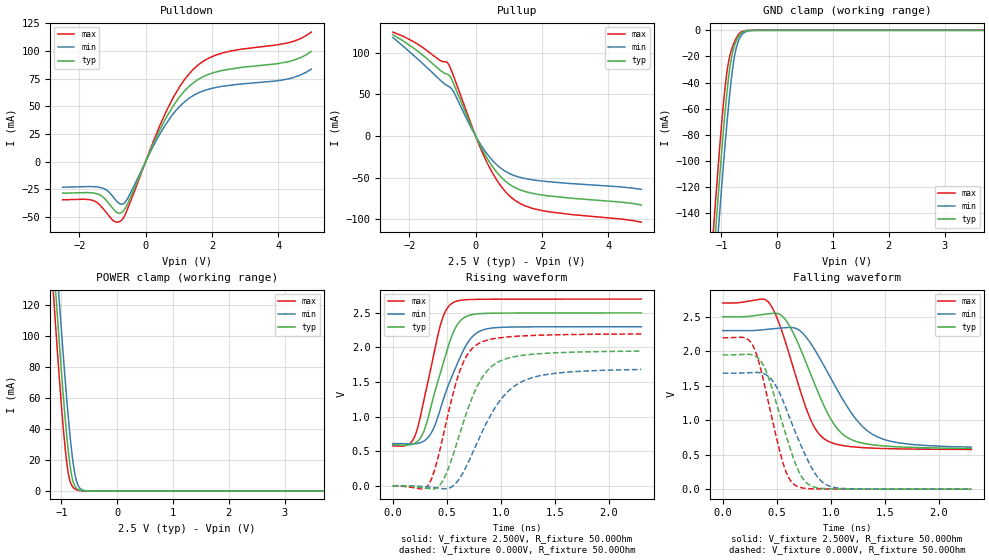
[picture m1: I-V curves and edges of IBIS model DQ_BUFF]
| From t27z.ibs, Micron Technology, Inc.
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|   MODEL DQ_BUFF
[Model]   DQ_BUFF
Model_type   I/O
Vinl = 0.940V
Vinh = 1.560V
Vmeas = 1.250V
Vref = 1.250V
Cref = 30.000pF
Rref = 50.000Ohm
|   typ   min   max
C_comp   3.36pF   3.21pF   3.52pF
[Model Spec]
| Input threshold voltage corners
Vinh   1.560V   1.460V   1.660V
Vinl   0.940V   0.840V   1.040V
| Measurement voltage corners
Vmeas   1.250V   1.150V   1.350V
| Timing spec test load voltage corners
Vref   1.250V   1.150V   1.350V
| Overshoot/Undershoot
S_overshoot_high   2.800V   2.600V   3.000V
S_overshoot_low   -0.300V   NA   NA
[Receiver Thresholds]
Vth   =  1.250V
Vth_min  =  1.225V
Vth_max  =  1.275V
Vinh_ac  =  0.310V
Vinh_dc  =  0.150V
Vinl_ac  = -0.310V
Vinl_dc  = -0.150V
Tslew_ac =  10.000ns |Not specified, so set to high value
[Voltage Range]   2.500V   2.300V   2.700V
| Junction Temperature (Ambient temp is 25C typ, 70C min, 0C max)
[Temperature Range]   40.0   85.0   0.0
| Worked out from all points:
|   slope of the pulldown table from 0 to 0.375 V, typ, clamps not added: 14.8 ohm
|   slope of the pullup table from 0 to 0.375 V, typ, clamps not added: 13.2 ohm
|   GND clamp passes 1 mA (typ) near -0.60 V on its own axis
|   POWER clamp passes 1 mA (typ) near -0.70 V on its own axis
|   falling waveform, V_fixture 2.500V, R_fixture 50.00Ohm: 20-80 % time 321ps typ, 395ps min, 265ps max; typ from 2.5 V to 0.592 V
|   rising waveform, V_fixture 2.500V, R_fixture 50.00Ohm: 20-80 % time 210ps typ, 247ps min, 177ps max; typ from 0.592 V to 2.5 V
|   rising waveform, V_fixture 0.000V, R_fixture 50.00Ohm: 20-80 % time 278ps typ, 357ps min, 221ps max; typ from 0 V to 1.95 V
|   falling waveform, V_fixture 0.000V, R_fixture 50.00Ohm: 20-80 % time 232ps typ, 273ps min, 198ps max; typ from 1.95 V to 0 V
[Pulldown]
|   Voltage   I(typ)   I(min)   I(max)
-2.5V     -28.47mA   -23.07mA   -34.41mA
-1.765V   -27.88mA   NA         NA
-1.44V    -29.15mA   NA         NA
-965mV    -43.14mA   NA         NA
-750mV    -46.34mA   NA         NA
-555mV    -38.7mA    NA         NA
605mV     38.88mA    NA         NA
980mV     56.79mA    NA         NA
1.35V     69.1mA     NA         NA
2.11V     80.97mA    NA         NA
4.34V     90.55mA    NA         NA
5V        99.58mA    83.6mA     117.1mA
[GND Clamp]
|   Voltage   I(typ)   I(min)   I(max)
-2.5V     -1.035A    -1.05A     -1.024A
-1.155V   -182.8mA   NA         -159.6mA
-1.125V   -165.2mA   -192.6mA   -141.9mA
-1.095V   -147.9mA   -175.3mA   NA
-1.065V   -130.8mA   -158.2mA   NA
-1.04V    -116.9mA   NA         NA
-935mV    -62.57mA   -87.8mA    -43.71mA
-845mV    -27.39mA   NA         -18.72mA
-790mV    -15.05mA   NA         NA
-745mV    -9.117mA   -15.39mA   -6.858mA
-610mV    -1.149mA   NA         NA
5V        0A         0A         0A
[Pullup]
|   Voltage   I(typ)   I(min)   I(max)
-2.5V     121.4mA    118.1mA    124.5mA
-1.895V   106.1mA    NA         NA
-1.035V   77.68mA    NA         NA
-825mV    73.54mA    NA         NA
-670mV    63.38mA    NA         NA
-115mV    10.28mA    NA         NA
315mV     -24.45mA   NA         NA
705mV     -46.44mA   NA         NA
1.115V    -60.2mA    NA         NA
1.465V    -66.17mA   NA         NA
2.175V    -71.61mA   NA         NA
5V        -82.58mA   -63.91mA   -103.2mA
[POWER Clamp]
|   Voltage   I(typ)   I(min)   I(max)
-2.5V     953.6mA    971.8mA    940.1mA
-1.175V   167.4mA    NA         NA
-1.135V   145.9mA    NA         122.9mA
-1.105V   130.1mA    NA         107.1mA
-1.045V   99.25mA    126.2mA    NA
-970mV    63.15mA    NA         NA
-905mV    35.67mA    59.41mA    18.43mA
-825mV    11.57mA    NA         4.268mA
-735mV    1.883mA    7.051mA    NA
-650mV    284uA      NA         NA
-491mV    0A         NA         NA
5V        0A         0A         0A
[Ramp]
R_load = 50.00Ohm
|   typ   min   max
dV/dt_r   1.168V/278.087ps   1.009V/356.551ps   1.317V/220.909ps
dV/dt_f   1.145V/320.321ps   1.014V/395.145ps   1.274V/264.434ps
[Falling Waveform]
V_fixture = 2.500V
V_fixture_min = 2.300V
V_fixture_max = 2.700V
R_fixture = 50.00Ohm
|   Time   V(typ)   V(min)   V(max)
0s        2.5V       2.3V       2.7V
400ps     2.539V     NA         2.743V
480ps     2.551V     NA         2.564V
600ps     2.413V     NA         2.037V
710ps     2.069V     2.302V     NA
850ps     1.528V     NA         NA
960ps     1.133V     NA         707.9mV
1.12ns    784.5mV    NA         NA
1.38ns    644mV      NA         NA
2.3ns     591.9mV    609.4mV    576.3mV
[Rising Waveform]
V_fixture = 2.500V
V_fixture_min = 2.300V
V_fixture_max = 2.700V
R_fixture = 50.00Ohm
|   Time   V(typ)   V(min)   V(max)
0s        591.9mV    609.4mV    576.3mV
180ps     598.9mV    605.5mV    647.2mV
270ps     726.7mV    631.2mV    1.103V
350ps     1.12V      745.7mV    1.678V
420ps     1.52V      NA         2.19V
480ps     1.838V     1.303V     2.498V
560ps     2.217V     1.627V     2.65V
700ps     2.461V     2.084V     2.692V
840ps     2.492V     2.256V     NA
2.3ns     2.5V       2.3V       2.7V
[Rising Waveform]
V_fixture = 0.000V
V_fixture_min = 0.000V
V_fixture_max = 0.000V
R_fixture = 50.00Ohm
|   Time   V(typ)   V(min)   V(max)
0s        -37.89uV   -43.15uV   -34.9uV
310ps     -32.98mV   NA         -27.51mV
380ps     -47.41mV   NA         192mV
480ps     122.3mV    -44.92mV   NA
560ps     452.9mV    -526uV     1.342V
640ps     850.3mV    159.7mV    1.738V
780ps     1.433V     NA         NA
980ps     1.793V     1.205V     NA
1.22ns    1.89V      NA         NA
2.3ns     1.947V     1.682V     2.195V
[Falling Waveform]
V_fixture = 0.000V
V_fixture_min = 0.000V
V_fixture_max = 0.000V
R_fixture = 50.00Ohm
|   Time   V(typ)   V(min)   V(max)
0s        1.947V     1.682V     2.195V
280ps     1.945V     1.692V     2.08V
380ps     1.785V     NA         1.557V
480ps     1.336V     1.53V      864mV
570ps     862mV      NA         320.1mV
680ps     342.8mV    795.4mV    47.34mV
760ps     116.7mV    509.8mV    12.5mV
860ps     25.22mV    213.2mV    4.423mV
1ns       5.176mV    37.91mV    NA
2.3ns     -37.89uV   -43.15uV   -34.9uV
